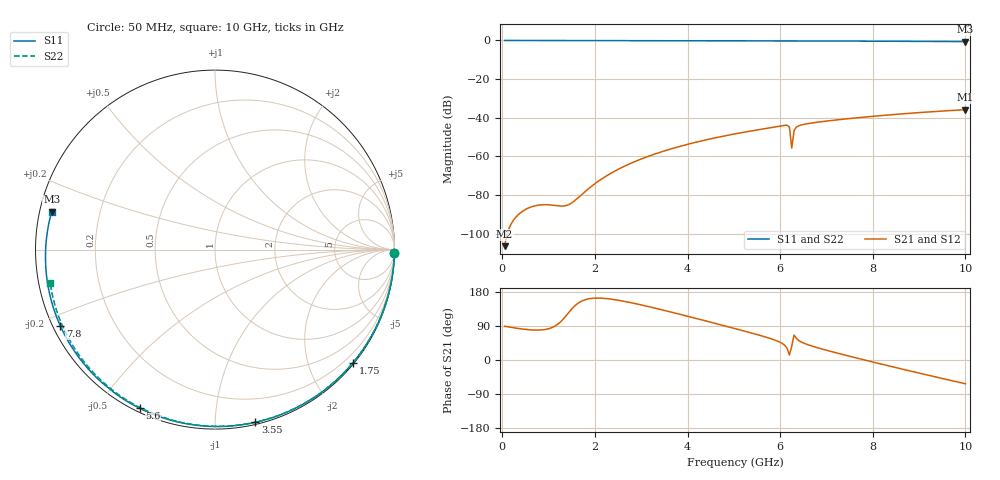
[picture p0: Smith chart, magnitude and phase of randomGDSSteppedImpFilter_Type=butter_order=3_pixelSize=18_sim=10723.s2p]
! freq	dB(S11)	phase(S11)	dB(S12)	phase(S12)
!  dB(S21)	phase(S21)	dB(S22)	phase(S22)
!S-par simulation data
#  GHz  S  DB  R 50
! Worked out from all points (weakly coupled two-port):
!   200 points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, 50 MHz to 10 GHz, reference 50 ohm
!   highest |S21| = -35.84 dB at 10 GHz (marker M1); lowest = -106.5 dB at 50 MHz (marker M2)
!   lowest |S11| = -0.6 dB at 10 GHz (marker M3), VSWR 29.39, Z = 1.72 + j5.71 ohm
!   |S11| at or under -10 dB: nowhere
!   |S22| runs from -0.6 to 0.0 dB; largest |S21 - S12| = 0
!   S11 on the Smith chart (normalised r, x): 50 MHz: 0, -99; 1.75 GHz: 0.03, -2.80; 3.55 GHz: 0.02, -1.26; 5.6 GHz: 0.02, -0.63; 7.8 GHz: 0.02, -0.23; 10 GHz: 0.03, +0.11
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0.05  -0.00 -1.2  -106.55 89.0  -106.55 89.0  -0.00 -1.0
0.85  -0.02 -19.3  -85.11 79.4  -85.11 79.4  -0.02 -16.2
1.7  -0.05 -38.2  -80.14 154.5  -80.14 154.5  -0.04 -32.1
1.75  -0.05 -39.3  -79.08 157.3  -79.08 157.3  -0.04 -33.0
2.1  -0.06 -46.9  -72.47 163.3  -72.47 163.3  -0.05 -39.5
2.45  -0.07 -54.3  -67.40 158.8  -67.40 158.8  -0.06 -45.8
2.9  -0.08 -63.7  -62.36 148.1  -62.36 148.1  -0.07 -53.9
3.4  -0.10 -73.8  -57.97 133.9  -57.97 133.9  -0.08 -62.6
3.55  -0.10 -76.8  -56.84 129.3  -56.84 129.3  -0.09 -65.2
4.3  -0.13 -91.4  -52.03 106.1  -52.03 106.1  -0.11 -78.0
5.05  -0.16 -105.4  -48.27 82.1  -48.27 82.1  -0.14 -90.4
5.6  -0.19 -115.3  -45.96 63.7  -45.96 63.7  -0.16 -99.3
6.15  -0.22 -125.1  -43.89 30.8  -43.89 30.8  -0.22 -108.3
6.2  -0.23 -126.0  -44.86 13.1  -44.86 13.1  -0.28 -109.2
6.25  -0.24 -126.8  -55.74 36.2  -55.74 36.2  -0.35 -109.2
6.3  -0.23 -127.7  -46.72 65.9  -46.72 65.9  -0.25 -109.8
6.35  -0.23 -128.6  -44.89 57.0  -44.89 57.0  -0.23 -110.7
6.7  -0.26 -134.7  -42.70 36.2  -42.70 36.2  -0.23 -116.4
7.8  -0.35 -153.7  -39.73 0.7  -39.73 0.7  -0.31 -133.4
8.35  -0.40 -163.2  -38.56 -15.7  -38.56 -15.7  -0.37 -142.0
9.2  -0.49 -178.3  -37.03 -40.3  -37.03 -40.3  -0.46 -155.4
10  -0.59 166.9  -35.84 -62.7  -35.84 -62.7  -0.56 -168.5
